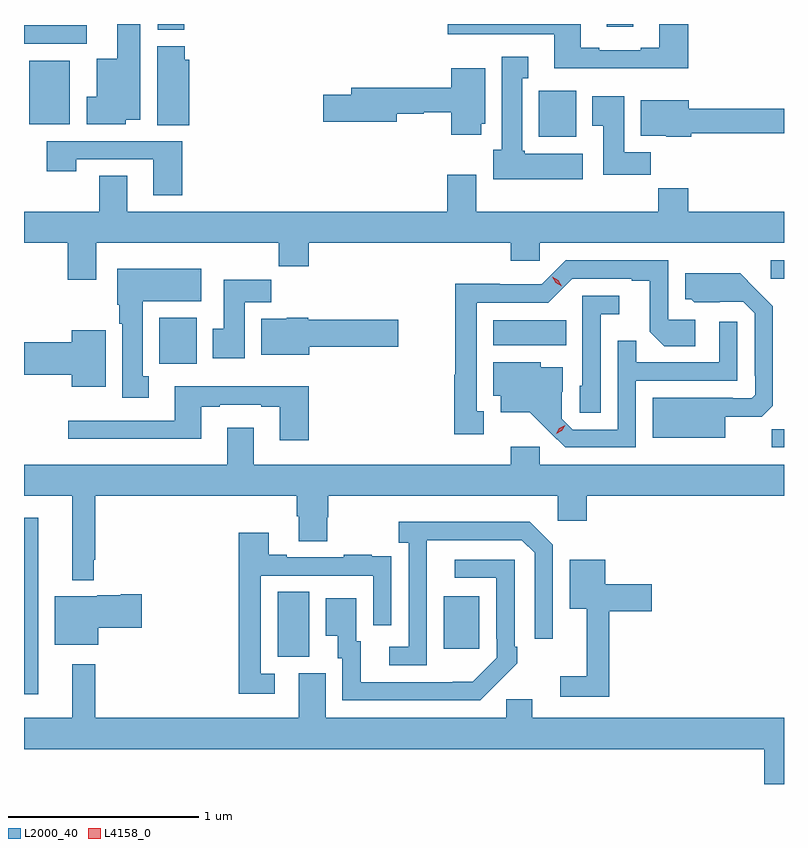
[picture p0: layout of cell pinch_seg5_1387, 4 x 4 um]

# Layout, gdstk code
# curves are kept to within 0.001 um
import gdstk
lib = gdstk.Library(unit=1e-6, precision=1e-09)
def R(c, l, rs):  # rectangles x0, y0, x1, y1
    for r in rs: c.add(gdstk.rectangle(r[:2], r[2:], *l))
def P(c, l, *ps):  # polygons
    for p in ps: c.add(gdstk.Polygon(p, *l))
L2000_40 = (2000, 40)
L4158_0 = (4158, 0)

pinch_seg5_1387 = lib.new_cell('pinch_seg5_1387')
R(pinch_seg5_1387, L2000_40, [(156.88,910.329,156.955,911.257), (158.216,910.525,158.38,910.868), (159.089,910.569,159.277,910.843), (160.816,911.628,160.88,911.723), (157.592,912.068,157.789,912.31), (159.35,912.164,159.734,912.298), (160.809,912.516,160.88,912.612), (159.59,913.262,159.787,913.504), (156.908,913.328,157.12,913.663), (156.88,913.752,157.21,913.85), (157.583,913.825,157.724,913.856), (159.947,913.842,160.087,913.856)])
P(pinch_seg5_1387, L2000_40, [(160.376,913.856),(160.223,913.856),(160.223,913.732),(160.127,913.732),(160.127,913.719),(159.907,913.719),(159.907,913.732),(159.811,913.732),(159.811,913.856),(159.111,913.856),(159.111,913.803),(159.671,913.803),(159.671,913.622),(160.376,913.622)],
  [(157.416,913.352),(157.492,913.352),(157.492,913.856),(157.37,913.856),(157.37,913.672),(157.262,913.672),(157.262,913.474),(157.211,913.474),(157.211,913.328),(157.416,913.328)],
  [(157.751,913.668),(157.727,913.668),(157.727,913.74),(157.58,913.74),(157.58,913.324),(157.751,913.324)],
  [(159.82,913.174),(159.516,913.174),(159.516,913.188),(159.502,913.188),(159.502,913.571),(159.535,913.571),(159.535,913.684),(159.395,913.684),(159.395,913.194),(159.35,913.194),(159.35,913.04),(159.82,913.04)],
  [(159.286,913.332),(159.307,913.332),(159.307,913.624),(159.128,913.624),(159.128,913.52),(158.603,913.52),(158.603,913.484),(158.454,913.484),(158.454,913.342),(158.842,913.342),(158.842,913.384),(158.985,913.384),(158.985,913.392),(159.128,913.392),(159.128,913.272),(159.286,913.272)],
  [(160.178,913.18),(160.039,913.18),(160.039,913.477),(159.872,913.477),(159.872,913.321),(159.929,913.321),(159.929,913.062),(160.178,913.062)],
  [(160.391,913.281),(160.88,913.281),(160.88,913.409),(160.378,913.409),(160.378,913.456),(160.127,913.456),(160.127,913.268),(160.26,913.268),(160.26,913.262),(160.391,913.262)],
  [(157.712,913.239),(156.999,913.239),(156.999,913.08),(157.155,913.08),(157.155,913.143),(157.559,913.143),(157.559,912.954),(157.712,912.954)],
  [(157.261,912.704),(158.221,912.704),(158.221,912.58),(158.378,912.58),(158.378,912.704),(159.443,912.704),(159.443,912.611),(159.594,912.611),(159.594,912.704),(160.88,912.704),(160.88,912.868),(160.376,912.868),(160.376,912.992),(160.219,912.992),(160.219,912.868),(159.259,912.868),(159.259,913.063),(159.107,913.063),(159.107,912.868),(157.423,912.868),(157.423,913.058),(157.276,913.058),(157.276,912.868),(156.88,912.868),(156.88,912.704),(157.109,912.704),(157.109,912.51),(157.261,912.51)],
  [(159.301,911.817),(159.262,911.817),(159.262,912.39),(159.639,912.39),(159.765,912.516),(160.079,912.516),(160.079,912.504),(160.173,912.504),(160.173,912.236),(160.249,912.16),(160.414,912.16),(160.414,912.3),(160.272,912.3),(160.272,912.612),(159.732,912.612),(159.606,912.486),(159.384,912.486),(159.384,912.488),(159.151,912.488),(159.151,912.009),(159.144,912.009),(159.144,911.697),(159.301,911.697)],
  [(157.537,912.002),(157.504,912.002),(157.504,912.398),(157.813,912.398),(157.813,912.568),(157.37,912.568),(157.37,912.378),(157.382,912.378),(157.382,912.278),(157.397,912.278),(157.397,911.889),(157.537,911.889)],
  [(160.57,911.789),(160.762,911.789),(160.821,911.848),(160.821,912.37),(160.649,912.544),(160.361,912.544),(160.361,912.408),(160.392,912.408),(160.408,912.392),(160.665,912.393),(160.725,912.333),(160.725,912.004),(160.728,912.004),(160.728,911.904),(160.71,911.886),(160.61,911.886),(160.61,911.89),(160.19,911.89),(160.19,911.678),(160.57,911.678)],
  [(158.041,912.392),(158.18,912.392),(158.18,912.51),(157.931,912.51),(157.931,912.252),(157.874,912.252),(157.874,912.096),(158.041,912.096)],
  [(159.915,912.329),(160.012,912.329),(160.012,912.426),(159.819,912.426),(159.819,911.952),(159.804,911.952),(159.804,911.809),(159.915,911.809)],
  [(158.38,912.158),(158.851,912.158),(158.851,912.3),(158.376,912.3),(158.376,912.31),(158.262,912.31),(158.262,912.304),(158.129,912.304),(158.129,912.116),(158.38,912.116)],
  [(160.101,911.979),(160.635,911.979),(160.635,912.289),(160.539,912.289),(160.539,912.075),(160.103,912.075),(160.103,912.188),(160.005,912.188),(160.005,911.721),(159.768,911.721),(159.711,911.778),(159.711,911.92),(159.715,911.92),(159.715,912.049),(159.6,912.049),(159.6,912.076),(159.35,912.076),(159.35,911.9),(159.389,911.9),(159.389,911.813),(159.541,911.813),(159.728,911.628),(160.101,911.628)],
  [(157.309,912.244),(157.13,912.244),(157.13,912.182),(156.88,912.182),(156.88,912.01),(157.13,912.01),(157.13,911.948),(157.309,911.948)],
  [(158.378,911.95),(157.673,911.95),(157.673,911.769),(157.113,911.769),(157.113,911.672),(157.813,911.672),(157.813,911.841),(157.909,911.841),(157.909,911.853),(158.129,911.853),(158.129,911.841),(158.225,911.841),(158.225,911.664),(158.378,911.664)],
  [(157.247,911.035),(157.255,911.035),(157.255,911.372),(158.315,911.372),(158.315,911.266),(158.327,911.266),(158.327,911.134),(158.475,911.134),(158.475,911.259),(158.48,911.259),(158.48,911.372),(159.69,911.372),(159.69,911.241),(159.842,911.241),(159.842,911.372),(160.88,911.372),(160.88,911.536),(159.594,911.536),(159.594,911.632),(159.443,911.632),(159.443,911.536),(158.089,911.536),(158.089,911.731),(157.949,911.731),(157.949,911.536),(156.88,911.536),(156.88,911.372),(157.133,911.372),(157.133,910.928),(157.247,910.928)],
  [(159,910.939),(159.001,911.139),(159.501,911.139),(159.567,911.073),(159.567,910.62),(159.663,910.62),(159.663,911.115),(159.542,911.236),(158.853,911.236),(158.853,911.126),(158.904,911.126),(158.904,910.578),(158.802,910.578),(158.802,910.482),(159,910.482)],
  [(158.2,910.437),(158.127,910.437),(158.127,910.953),(158.718,910.953),(158.718,910.692),(158.814,910.692),(158.814,910.946),(158.813,910.946),(158.813,911.055),(158.711,911.055),(158.711,911.062),(158.563,911.062),(158.563,911.049),(158.263,911.049),(158.263,911.062),(158.167,911.062),(158.167,911.179),(158.011,911.179),(158.011,910.332),(158.2,910.332)],
  [(159.371,910.387),(159.372,910.386),(159.477,910.491),(159.477,910.579),(159.462,910.579),(159.462,911.037),(159.147,911.037),(159.147,910.941),(159.366,910.941),(159.366,910.621),(159.369,910.621),(159.369,910.521),(159.241,910.393),(158.653,910.392),(158.653,910.608),(158.629,910.608),(158.629,910.834),(158.468,910.834),(158.468,910.637),(158.531,910.637),(158.531,910.518),(158.556,910.518),(158.556,910.296),(159.28,910.296)],
  [(159.959,910.766),(160.183,910.766),(160.183,910.908),(159.94,910.908),(159.94,911.035),(159.752,911.035),(159.752,910.778),(159.842,910.778),(159.842,910.423),(159.702,910.423),(159.702,910.314),(159.959,910.314)],
  [(157.27,910.678),(157.501,910.678),(157.501,910.856),(157.388,910.856),(157.388,910.849),(157.266,910.849),(157.266,910.843),(157.043,910.843),(157.043,910.589),(157.27,910.589)],
  [(160.88,910.204),(159.556,910.204),(159.556,910.302),(159.417,910.302),(159.417,910.204),(158.467,910.204),(158.467,910.44),(158.327,910.44),(158.327,910.204),(157.255,910.204),(157.255,910.486),(157.133,910.486),(157.133,910.204),(156.88,910.204),(156.88,910.04),(160.777,910.04),(160.777,909.856),(160.88,909.856)])
P(pinch_seg5_1387, L4158_0, [(159.68,911.7),(159.68,911.7),(159.697,911.729),(159.728,911.744),(159.728,911.744),(159.728,911.744),(159.711,911.715),(159.68,911.7)],
  [(159.711,912.475),(159.679,912.494),(159.661,912.526),(159.661,912.527),(159.661,912.527),(159.693,912.508),(159.711,912.475),(159.711,912.475)])

lib.write_gds('pinch_seg5_1387.gds')
